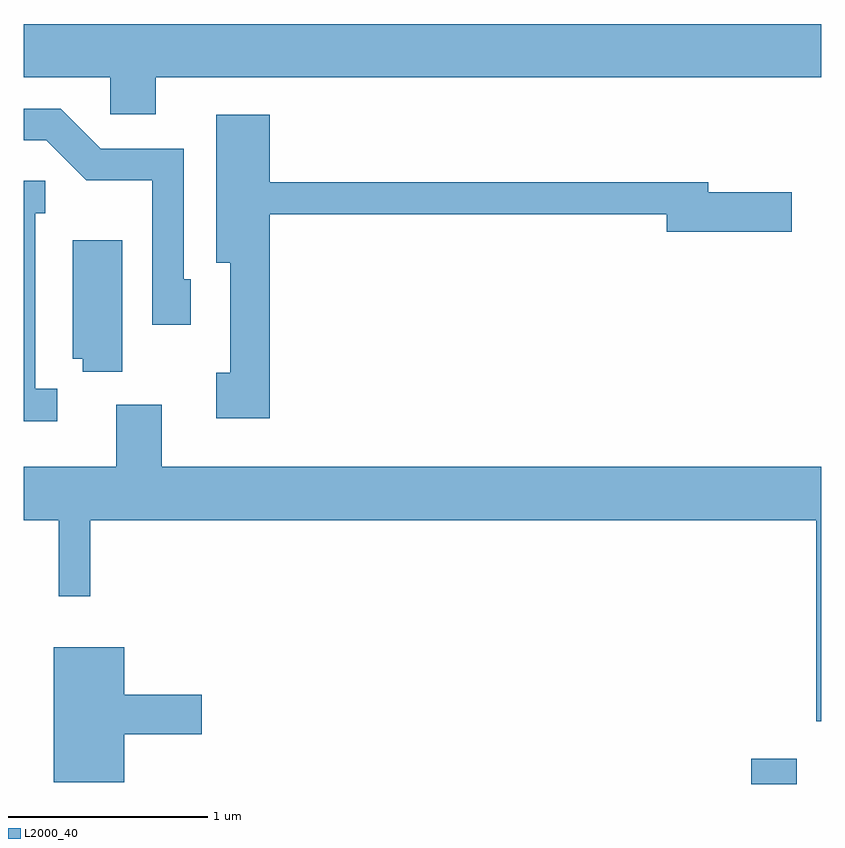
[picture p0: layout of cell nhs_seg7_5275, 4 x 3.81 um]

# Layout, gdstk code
import gdstk
lib = gdstk.Library(unit=1e-6, precision=1e-09)
def R(c, l, rs):  # rectangles x0, y0, x1, y1
    for r in rs: c.add(gdstk.rectangle(r[:2], r[2:], *l))
def P(c, l, *ps):  # polygons
    for p in ps: c.add(gdstk.Polygon(p, *l))
L2000_40 = (2000, 40)

nhs_seg7_5275 = lib.new_cell('nhs_seg7_5275')
R(nhs_seg7_5275, L2000_40, [(349.261,1786.252,349.489,1786.379)])
P(nhs_seg7_5275, L2000_40, [(346.274,1789.796),(349.611,1789.796),(349.611,1790.064),(345.611,1790.064),(345.611,1789.796),(346.046,1789.796),(346.046,1789.611),(346.274,1789.611)],
  [(346.449,1788.784),(346.414,1788.784),(346.414,1789.439),(345.997,1789.439),(345.797,1789.639),(345.611,1789.639),(345.611,1789.481),(345.724,1789.481),(345.924,1789.281),(346.256,1789.281),(346.256,1788.556),(346.449,1788.556)],
  [(346.844,1789.111),(348.836,1789.111),(348.836,1789.021),(349.464,1789.021),(349.464,1789.219),(349.044,1789.219),(349.044,1789.269),(346.844,1789.269),(346.844,1789.609),(346.576,1789.609),(346.576,1788.866),(346.646,1788.866),(346.646,1788.314),(346.576,1788.314),(346.576,1788.086),(346.844,1788.086)],
  [(345.778,1788.234),(345.669,1788.234),(345.669,1789.116),(345.718,1789.116),(345.718,1789.279),(345.611,1789.279),(345.611,1788.071),(345.778,1788.071)],
  [(346.104,1788.979),(345.856,1788.979),(345.856,1788.386),(345.906,1788.386),(345.906,1788.321),(346.104,1788.321)],
  [(349.611,1787.844),(346.304,1787.844),(346.304,1788.154),(346.076,1788.154),(346.076,1787.844),(345.611,1787.844),(345.611,1787.576),(345.786,1787.576),(345.786,1787.193),(345.944,1787.193),(345.944,1787.576),(349.586,1787.576),(349.586,1786.566),(349.611,1786.566)],
  [(346.114,1786.501),(346.504,1786.501),(346.504,1786.699),(346.114,1786.699),(346.114,1786.939),(345.761,1786.939),(345.761,1786.261),(346.114,1786.261)])

lib.write_gds('nhs_seg7_5275.gds')
